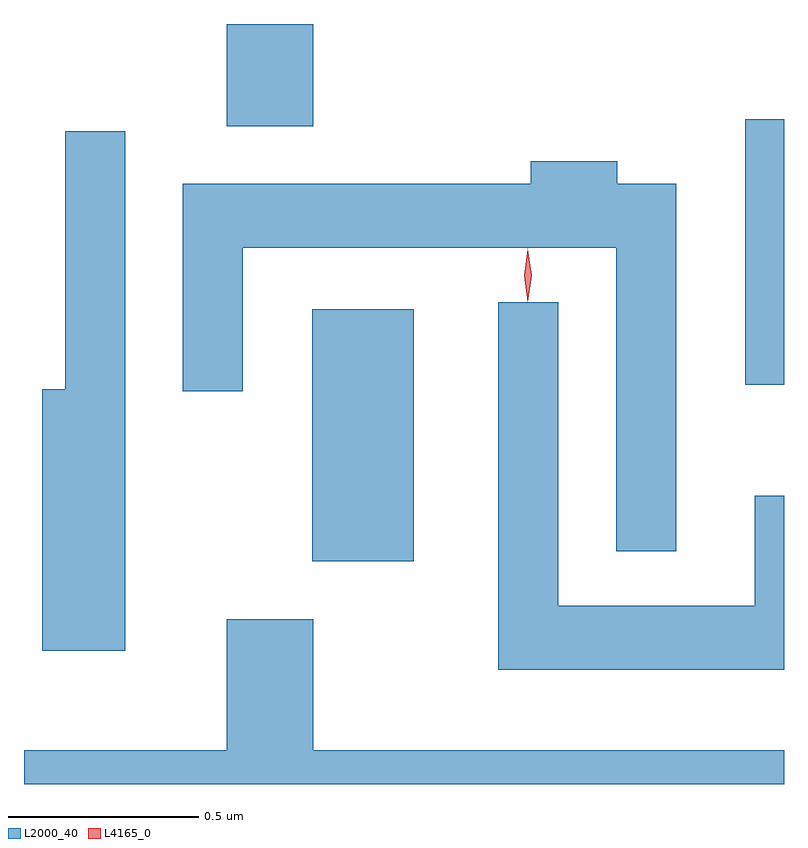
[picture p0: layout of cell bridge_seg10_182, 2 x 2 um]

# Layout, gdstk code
import gdstk
lib = gdstk.Library(unit=1e-6, precision=1e-09)
def R(c, l, rs):  # rectangles x0, y0, x1, y1
    for r in rs: c.add(gdstk.rectangle(r[:2], r[2:], *l))
def P(c, l, *ps):  # polygons
    for p in ps: c.add(gdstk.Polygon(p, *l))
L2000_40 = (2000, 40)
L4165_0 = (4165, 0)

bridge_seg10_182 = lib.new_cell('bridge_seg10_182')
R(bridge_seg10_182, L2000_40, [(1663.816,2092.481,1664.084,2093.144), (1664.956,2092.946,1665.058,2093.644), (1663.591,2093.626,1663.819,2093.895)])
P(bridge_seg10_182, L2000_40, [(1663.324,2093.613),(1663.166,2093.613),(1663.166,2092.934),(1663.106,2092.934),(1663.106,2092.246),(1663.324,2092.246)],
  [(1664.774,2093.474),(1664.619,2093.474),(1664.619,2093.534),(1664.391,2093.534),(1664.391,2093.474),(1663.476,2093.474),(1663.476,2092.928),(1663.634,2092.928),(1663.634,2093.306),(1664.616,2093.306),(1664.616,2092.508),(1664.774,2092.508)],
  [(1665.058,2092.654),(1664.981,2092.654),(1664.981,2092.364),(1664.464,2092.364),(1664.464,2093.163),(1664.306,2093.163),(1664.306,2092.196),(1665.058,2092.196)],
  [(1665.058,2091.984),(1663.819,2091.984),(1663.819,2092.329),(1663.591,2092.329),(1663.591,2091.984),(1663.058,2091.984),(1663.058,2091.895),(1665.058,2091.895)])
P(bridge_seg10_182, L4165_0, [(1664.383,2093.167),(1664.374,2093.234),(1664.383,2093.3),(1664.384,2093.301),(1664.384,2093.3),(1664.394,2093.234),(1664.384,2093.167),(1664.384,2093.167)],
  [(1664.383,2093.164),(1664.374,2093.233),(1664.383,2093.302),(1664.384,2093.303),(1664.384,2093.302),(1664.394,2093.233),(1664.384,2093.164),(1664.384,2093.164)])

lib.write_gds('bridge_seg10_182.gds')
